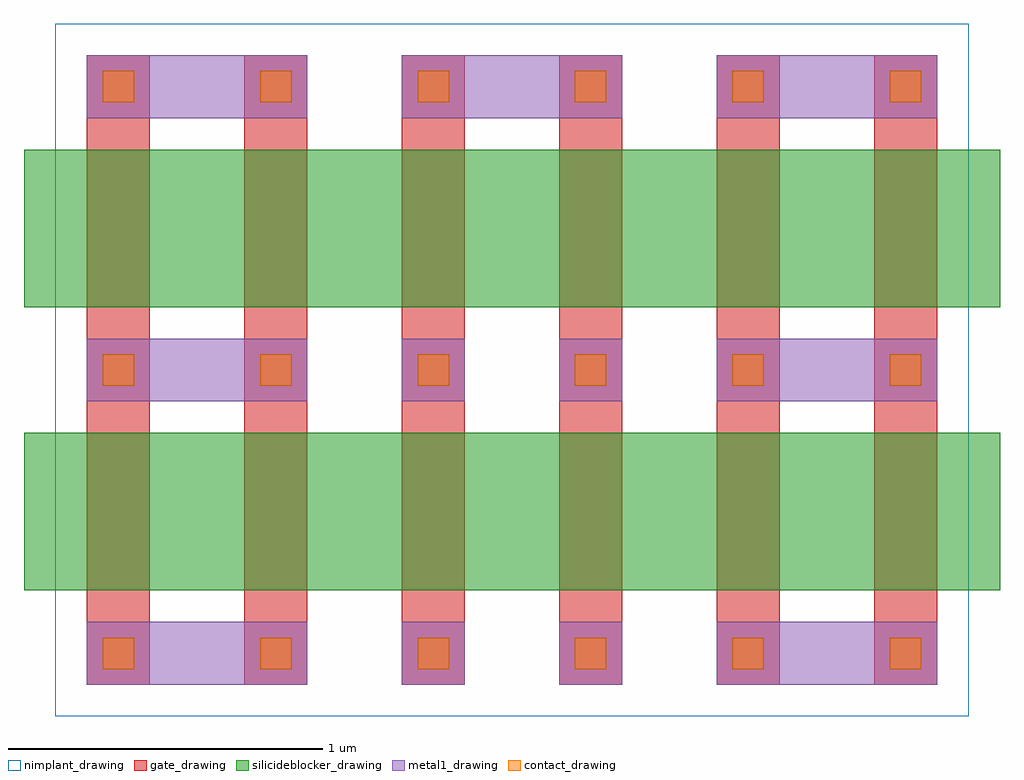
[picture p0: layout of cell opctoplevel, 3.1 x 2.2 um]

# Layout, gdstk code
import gdstk
lib = gdstk.Library(unit=1e-6, precision=1e-09)
def R(c, l, rs):  # rectangles x0, y0, x1, y1
    for r in rs: c.add(gdstk.rectangle(r[:2], r[2:], *l))
def A(c, l, x, y, w, h, nx, ny, dx, dy):  # array of equal rectangles
    R(c, l, [(x+i*dx, y+j*dy, x+i*dx+w, y+j*dy+h) for i in range(nx) for j in range(ny)])
nimplant_drawing = (5, 0)
gate_drawing = (6, 0)
contact_drawing = (7, 0)
metal1_drawing = (8, 0)
silicideblocker_drawing = (28, 0)

opctoplevel = lib.new_cell('opctoplevel')
R(opctoplevel, nimplant_drawing, [(-0.1,-0.1,2.8,2.1)])
A(opctoplevel, gate_drawing, 0, 0, 0.2, 2, 6, 1, 0.5, 0)
A(opctoplevel, gate_drawing, 0, 0, 0.2, 0.2, 6, 2, 0.5, 1.8)
A(opctoplevel, gate_drawing, 0, 0.9, 0.2, 0.2, 3, 1, 0.5, 0)
A(opctoplevel, gate_drawing, 1.5, 0.9, 0.2, 0.2, 3, 1, 0.5, 0)
R(opctoplevel, gate_drawing, [(1,0.9,1.2,1.1), (1.5,0.9,1.7,1.1)])
A(opctoplevel, contact_drawing, 0.05, 0.05, 0.1, 0.1, 6, 2, 0.5, 1.8)
A(opctoplevel, contact_drawing, 0.05, 0.95, 0.1, 0.1, 3, 1, 0.5, 0)
A(opctoplevel, contact_drawing, 1.55, 0.95, 0.1, 0.1, 3, 1, 0.5, 0)
R(opctoplevel, contact_drawing, [(1.05,0.95,1.15,1.05), (1.55,0.95,1.65,1.05)])
A(opctoplevel, metal1_drawing, 0, 0, 0.2, 0.2, 6, 2, 0.5, 1.8)
A(opctoplevel, metal1_drawing, 0, 0.9, 0.2, 0.2, 3, 1, 0.5, 0)
A(opctoplevel, metal1_drawing, 1.5, 0.9, 0.2, 0.2, 3, 1, 0.5, 0)
A(opctoplevel, metal1_drawing, 0, 1.8, 0.7, 0.2, 3, 1, 1, 0)
R(opctoplevel, metal1_drawing, [(0,0,0.7,0.2), (2,0,2.7,0.2), (0,0.9,0.7,1.1), (1,0.9,1.2,1.1), (1,0.9,1.2,1.1), (1.5,0.9,1.7,1.1), (1.5,0.9,1.7,1.1), (2,0.9,2.7,1.1)])
R(opctoplevel, silicideblocker_drawing, [(-0.2,0.3,2.9,0.8), (-0.2,1.2,2.9,1.7)])

lib.write_gds('opctoplevel.gds')
